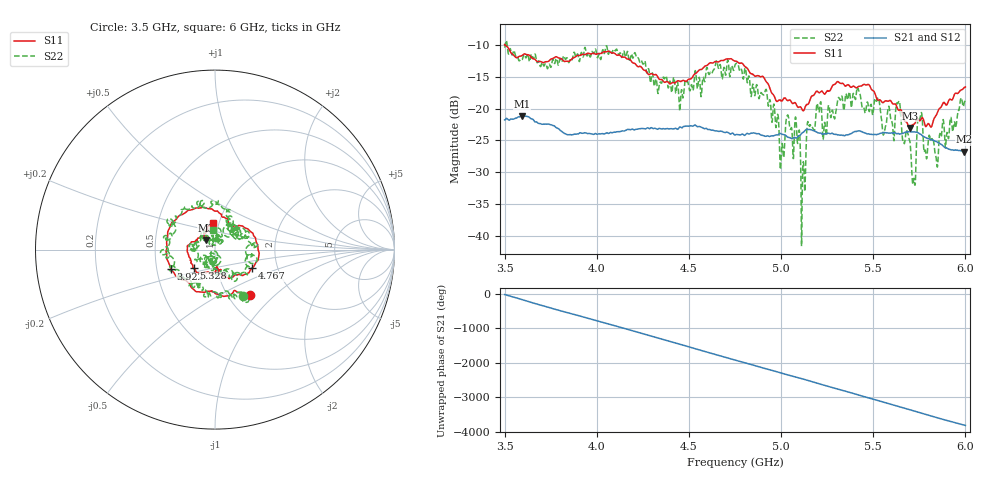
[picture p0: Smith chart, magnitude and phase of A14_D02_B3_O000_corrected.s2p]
! Created with skrf 1.9.0 (http://scikit-rf.org).
# Hz S RI R 50.0
!freq ReS11 ImS11 ReS21 ImS21 ReS12 ImS12 ReS22 ImS22
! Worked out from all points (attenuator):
!   1601 points, 3.5 GHz to 6 GHz, reference 50 ohm
!   highest |S21| = -21.16 dB at 3.594 GHz (marker M1); lowest = -26.8 dB at 5.992 GHz (marker M2)
!   lowest |S11| = -23.1 dB at 5.698 GHz (marker M3), VSWR 1.15, Z = 45.2 + j4.65 ohm
!   |S11| at or under -10 dB: 3.504 GHz to end of sweep
!   |S22| runs from -41.7 to -9.2 dB; largest |S21 - S12| = 0.00094
!   S11 on the Smith chart (normalised r, x): 3.5 GHz: 1.26, -0.71; 3.922 GHz: 0.59, -0.14; 4.767 GHz: 1.48, -0.32; 5.328 GHz: 0.77, -0.17; 6 GHz: 0.94, +0.28
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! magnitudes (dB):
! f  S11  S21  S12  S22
! 3.5 GHz  -9.9  -21.8  -21.8  -10.4
! 3.594 GHz  -11.6  -21.2  -21.2  -12.3
! 3.917 GHz  -11.5  -23.9  -23.8  -11.1
! 3.922 GHz  -11.4  -23.9  -23.9  -11.6
! 4.334 GHz  -15.2  -23.2  -23.1  -17.4
! 4.75 GHz  -12.5  -24.1  -24.1  -13.2
! 4.767 GHz  -12.7  -24.1  -24.1  -13.1
! 4.928 GHz  -16.0  -24.3  -24.3  -19.2
! 5.005 GHz  -18.7  -24.0  -24.0  -25.7
! 5.034 GHz  -18.7  -24.5  -24.4  -21.1
! 5.088 GHz  -19.6  -24.5  -24.5  -25.1
! 5.12 GHz  -20.3  -23.7  -23.6  -28.4
! 5.167 GHz  -18.0  -23.4  -23.3  -22.7
! 5.328 GHz  -16.0  -24.2  -24.1  -18.0
! 5.584 GHz  -18.8  -23.9  -23.8  -19.6
! 5.636 GHz  -20.2  -23.9  -23.9  -19.0
! 5.698 GHz  -23.1  -23.6  -23.6  -25.1
! 5.72 GHz  -22.5  -23.7  -23.6  -31.0
! 5.752 GHz  -21.9  -23.9  -23.9  -21.7
! 5.842 GHz  -21.0  -25.2  -25.1  -27.9
! 5.992 GHz  -16.7  -26.8  -26.7  -19.3
! 6 GHz  -16.6  -26.8  -26.7  -19.1
